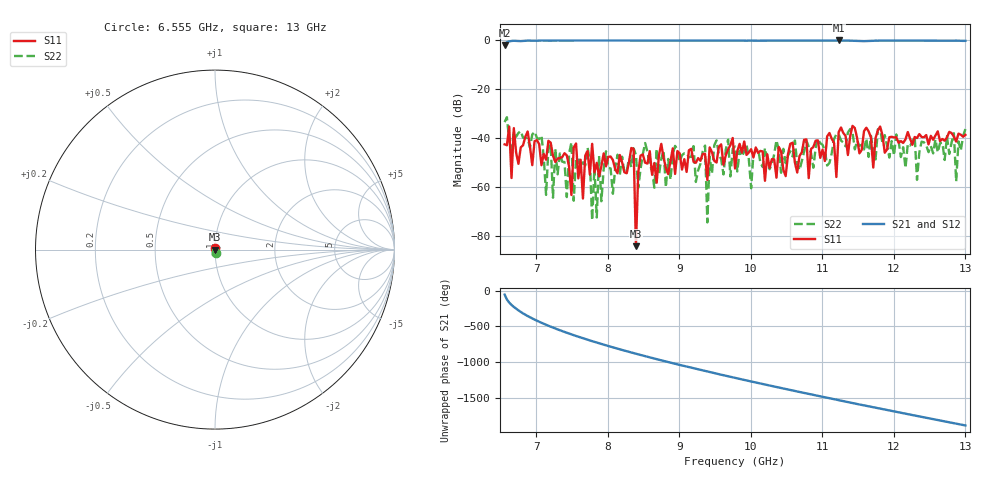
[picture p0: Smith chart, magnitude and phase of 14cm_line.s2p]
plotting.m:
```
clc; clear; close all;

%% Constants
mu0 = 4*pi*10^-7;
eps0 = 8.854*10^-12;
c0 = 1/sqrt(mu0*eps0);

%% Parameters
a = 22.86*10^-3; %0.9 inches
b = 10.16*10^-3; %0.4 inches
length = 14*10^-2; %5.5 inches


%% Extraction
filename = '14cm_line.s2p'; %input s2p file name
S = sparameters(filename);

s11 = rfparam(S, 1, 1);
s12 = rfparam(S, 1, 2);
s21 = rfparam(S, 2, 1);
s22 = rfparam(S, 2, 2); % Extract s-parameters from s2p file

freq = (S.Frequencies);
step = freq(2)-freq(1);

raw_phase = atan2(imag(s21),real(s21)); %phase from s2p
phase = unwrap(raw_phase); %unwrap phase
phase_deg = rad2deg(phase);

%% Math
m=1;
n=0; %define modes

k = (m*pi/a)^2+(n*pi/b)^2;
fc = (c0/2)*sqrt((m/a)^2+(n/b)^2)

%calc_beta = (2*pi*freq./c0)*sqrt(1-(1/freq.^2)*((c0^2)*(k)/(4*pi^2)));
meas_beta = phase*-1/length; %calculate phase coefficient

v_phase_m = 2*pi*freq./meas_beta(:,1);
v_phase_c = c0./sqrt((1-(fc./freq).^2)); %calculate phase velocity

v_group_m = 2*pi*step./(gradient(meas_beta(:)));
% v_group_m = sqrt(c0^2* meas_beta.^2+(2*pi*freq).^2)*(1/(meas_beta.*c0^2));
v_group_c = c0.*sqrt(1-(fc./freq).^2); %calculate group velocity

phase_error = log10(abs((v_phase_m-v_phase_c)/10^9));
group_error = log10(abs(v_group_m-v_group_c)/10^9);

%% Plotting
%Phase Velocity
figure();
grid on
hold on
ax = gca;

yyaxis left
plot(freq/10^9,v_phase_m/10^8,'LineStyle','-','LineWidth',1, color='#0072BD')
plot(freq/10^9,v_phase_c/10^8,'LineStyle','-','LineWidth',1,color='#7E2F8E')
ylabel('Phase Velocity [$10^8$ m/s]','Color','k','Interpreter','latex')
ylim([0 30])

yyaxis right
plot(freq/10^9,phase_error, 'LineStyle','--')
legend('Measured Phase Velocity','Calculated Phase Velocity', 'Log$_{10}$ Error','Interpreter', ...
    'latex','Location','northeast')

ylim([-4 -1])
xlim([6.555 13])
ax.YAxis(1).Color = 'k';
ax.YAxis(2).Color = 'k';
title ("Phase Velocity of Waveguide",'Interpreter','latex')
xlabel('Frequency [GHz]','Interpreter','latex')
ylabel('Log$_{10}$ Error [m/s]','Interpreter','latex')

%Group Velocity
figure();
grid on
hold on
ax = gca;
% 
yyaxis left
plot(freq/10^9,v_group_m/10^8,'LineStyle','-','LineWidth',1,color='#0072BD')
plot(freq/10^9,v_group_c/10^8,'LineStyle','-','LineWidth',1,color='#7E2F8E')

xlim([6.555 13])
ylim([0 4])
title ("Group Velocity of Waveguide",'Interpreter','latex')
xlabel('Frequency [GHz]','Interpreter','latex')
ylabel('Group Velocity [$10^8$ m/s]','Interpreter','latex','Color','k')
ax.YAxis(1).Color = 'k';
ax.YAxis(2).Color = 'k';

yyaxis right
plot(freq/10^9,group_error,'LineStyle','--')
ylabel('Log$_{10}$ Error [m/s]','Interpreter','latex')
ylim([-5 5])
legend('Measured Group Velocity','Calculated Phase Velocity','Log$_{10}$ Error','Interpreter', ...
    'latex','Location','northeast')
```
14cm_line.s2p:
!Keysight Technologies,N5241B,MY57181531,A.15.65.19
!Date: Tuesday, December 03, 2024 16:21:49
!Correction: S11(C  2-Port  )
!S21(C  2-Port  )
!S12(C  2-Port  )
!S22(C  2-Port  )
!S2P File: Measurements: S11, S21, S12, S22:
# Hz S  dB  R 50
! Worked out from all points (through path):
!   201 points, 6.555 GHz to 13 GHz, reference 50 ohm
!   highest |S21| = -0.13 dB at 11.23 GHz (marker M1); lowest = -2.0 dB at 6.555 GHz (marker M2)
!   lowest |S11| = -84.2 dB at 8.392 GHz (marker M3), VSWR 1.00, Z = 50 + j0.00269 ohm
!   |S11| at or under -10 dB: start of sweep to end of sweep
!   |S22| runs from -74.5 to -31.5 dB; largest |S21 - S12| = 0.0088
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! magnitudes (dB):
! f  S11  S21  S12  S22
! 6.555 GHz  -42.6  -2.0  -2.0  -33.5
! 7.715 GHz  -45.4  -0.2  -0.2  -43.9
! 7.78 GHz  -42.3  -0.2  -0.2  -73.6
! 8.36 GHz  -44.4  -0.2  -0.2  -44.2
! 8.392 GHz  -84.2  -0.2  -0.2  -46.9
! 8.456 GHz  -47.2  -0.2  -0.2  -52.8
! 9.359 GHz  -46.5  -0.2  -0.2  -43.1
! 9.391 GHz  -57.1  -0.2  -0.2  -74.5
! 9.777 GHz  -52.4  -0.2  -0.2  -43.4
! 11.23 GHz  -37.5  -0.1  -0.1  -38.4
! 13 GHz  -38.7  -0.3  -0.3  -36.3
